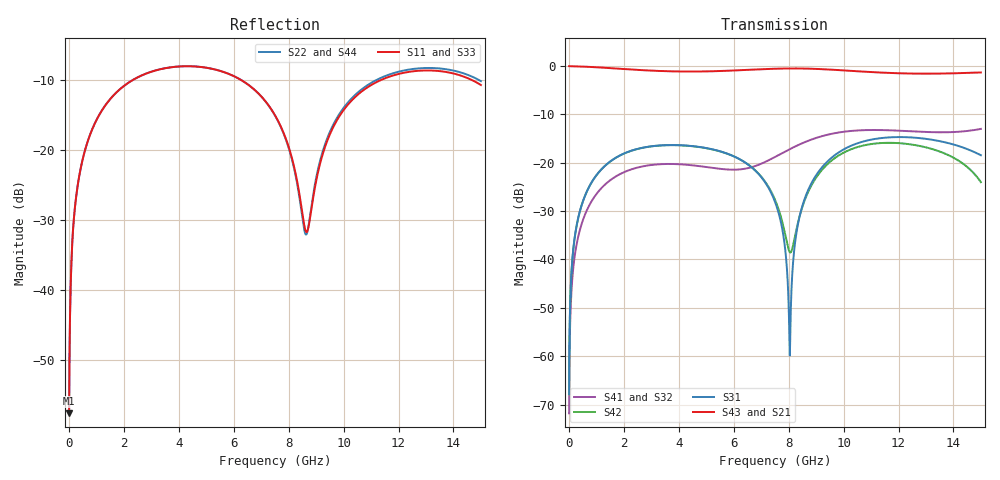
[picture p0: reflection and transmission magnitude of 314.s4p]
! Created with skrf 1.8.0 (http://scikit-rf.org).
# GHz S RI R 50.0
!freq ReS11 ImS11 ReS12 ImS12 ReS13 ImS13
! ReS14 ImS14
! ReS21 ImS21 ReS22 ImS22 ReS23 ImS23
! ReS24 ImS24
! ReS31 ImS31 ReS32 ImS32 ReS33 ImS33
! ReS34 ImS34
! ReS41 ImS41 ReS42 ImS42 ReS43 ImS43
! ReS44 ImS44
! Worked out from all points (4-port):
!   2499 points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, 5 MHz to 15 GHz, reference 50 ohm
!   strongest paths, dB at 5 MHz, 3.476 GHz, 7.19 GHz, 11.1 GHz, 15 GHz:
!     S43: 0.0, -1.0, -0.6, -1.3, -1.3
!     S21: 0.0, -1.0, -0.6, -1.3, -1.3
!     S31: -67.9, -16.4, -24.5, -15.1, -18.4
!     S42: -67.9, -16.4, -24.3, -16.0, -24.0
!     S41: -71.8, -20.3, -19.7, -13.2, -13.0
!     S32: -71.8, -20.3, -19.7, -13.2, -13.0
!   lowest |S11| = -57.6 dB at 5 MHz (marker M1), VSWR 1.00, Z = 50.1 + j0.0797 ohm
!   |S11| at or under -10 dB: start of sweep to 2.33 GHz; 6.262 GHz to 11.37 GHz (5.108 GHz wide, 57.9 % of centre); 14.66 GHz to end of sweep
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0.005  0.00104 0.000795  0.9989 -0.00204  5.04e-05 0.0004  -4.91e-05 -0.000252
       0.9989 -0.00204  0.00104 0.000795  -4.91e-05 -0.000252  5.04e-05 0.0004
       5.04e-05 0.0004  -4.91e-05 -0.000252  0.00104 0.000795  0.9989 -0.00204
       -4.91e-05 -0.000252  5.04e-05 0.0004  0.9989 -0.00204  0.00104 0.000795
0.4126719  0.017 0.0695  0.9766 -0.1674  0.00763 0.0319  -0.00634 -0.02
           0.9766 -0.1674  0.017 0.0695  -0.00634 -0.02  0.00758 0.0319
           0.00763 0.0319  -0.00634 -0.02  0.017 0.0695  0.9766 -0.1674
           -0.00634 -0.02  0.00758 0.0319  0.9766 -0.1674  0.017 0.0695
2.025844  0.2138 0.194  0.662 -0.6563  0.1034 0.0713  -0.0771 -0.023
          0.662 -0.6563  0.2141 0.1938  -0.077 -0.0231  0.1027 0.0719
          0.1034 0.0713  -0.077 -0.0231  0.2138 0.1939  0.662 -0.6563
          -0.0771 -0.023  0.1027 0.0719  0.662 -0.6563  0.214 0.1938
6.784077  0.1881 -0.1878  -0.6631 -0.6412  0.0435 -0.0708  -0.0424 0.0823
          -0.6631 -0.6412  0.1868 -0.189  -0.0438 0.0809  0.0407 -0.0729
          0.0435 -0.0708  -0.0438 0.0809  0.1869 -0.1884  -0.6634 -0.6412
          -0.0424 0.0823  0.0407 -0.0729  -0.6634 -0.6412  0.1871 -0.1876
8.04085  0.0445 -0.0884  -0.9061 -0.2714  -0.00101 -1.57e-05  -0.0341 0.1342
         -0.9061 -0.2714  0.0428 -0.0873  -0.0369 0.1334  -0.0116 -0.00254
         -0.00101 -1.57e-05  -0.0369 0.1334  0.0425 -0.0881  -0.9063 -0.2711
         -0.0341 0.1342  -0.0116 -0.00254  -0.9063 -0.2711  0.0443 -0.086
9.585244  0.0778 0.117  -0.8755 0.2777  0.0776 0.0839  0.0814 0.1828
          -0.8755 0.2777  0.0805 0.1218  0.0778 0.1843  0.0549 0.0915
          0.0776 0.0839  0.0778 0.1843  0.076 0.1188  -0.8754 0.2779
          0.0814 0.1828  0.0549 0.0915  -0.8754 0.2779  0.0829 0.1214
15  0.2514 -0.1461  0.4641 0.7232  -0.00414 -0.1197  0.1713 -0.1447
    0.4641 0.7232  0.2565 -0.1741  0.1758 -0.138  0.0328 -0.0539
    -0.00414 -0.1197  0.1758 -0.138  0.25 -0.1443  0.4646 0.7238
    0.1713 -0.1447  0.0328 -0.0539  0.4646 0.7238  0.2533 -0.1734
